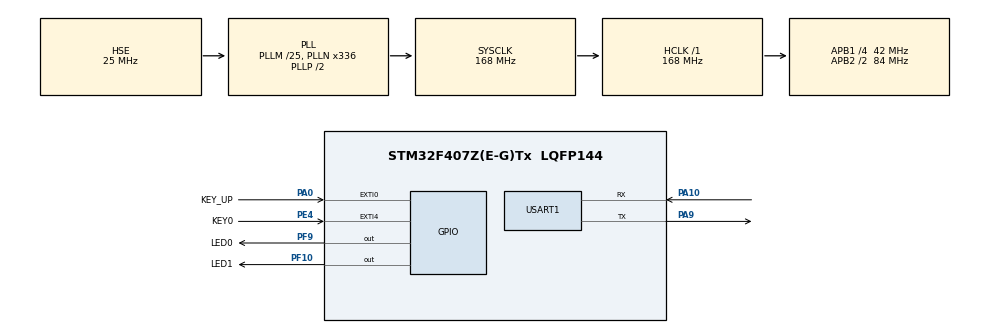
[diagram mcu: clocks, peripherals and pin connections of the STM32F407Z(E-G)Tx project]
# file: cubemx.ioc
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Mcu.Family=STM32F4
Mcu.Name=STM32F407Z(E-G)Tx
Mcu.Package=LQFP144
NVIC.EXTI0_IRQn=true\:0\:0\:false\:false\:true\:true\:true\:true
NVIC.EXTI4_IRQn=true\:1\:0\:true\:false\:true\:true\:true\:true
NVIC.PriorityGroup=NVIC_PRIORITYGROUP_4
PA0-WKUP.GPIO_Label=KEY_UP
PA0-WKUP.Signal=GPXTI0
PA10.Mode=Asynchronous
PA10.Signal=USART1_RX
PA9.Mode=Asynchronous
PA9.Signal=USART1_TX
PC14-OSC32_IN.Mode=LSE-External-Oscillator
PC14-OSC32_IN.Signal=RCC_OSC32_IN
PC15-OSC32_OUT.Mode=LSE-External-Oscillator
PC15-OSC32_OUT.Signal=RCC_OSC32_OUT
PE4.GPIO_Label=KEY0
PE4.Signal=GPXTI4
PF10.GPIO_Label=LED1
PF10.Signal=GPIO_Output
PF9.GPIO_Label=LED0
PF9.Signal=GPIO_Output
PH0-OSC_IN.Mode=HSE-External-Oscillator
PH0-OSC_IN.Signal=RCC_OSC_IN
PH1-OSC_OUT.Mode=HSE-External-Oscillator
PH1-OSC_OUT.Signal=RCC_OSC_OUT
ProjectManager.HeapSize=0x200
ProjectManager.StackSize=0x400
ProjectManager.TargetToolchain=Makefile
RCC.48MHZClocksFreq_Value=84000000
RCC.AHBFreq_Value=168000000
RCC.APB1CLKDivider=RCC_HCLK_DIV4
RCC.APB1Freq_Value=42000000
RCC.APB1TimFreq_Value=84000000
RCC.APB2CLKDivider=RCC_HCLK_DIV2
RCC.APB2Freq_Value=84000000
RCC.APB2TimFreq_Value=168000000
RCC.CortexFreq_Value=168000000
RCC.HCLKFreq_Value=168000000
RCC.HSE_VALUE=25000000
RCC.HSI_VALUE=16000000
RCC.PLLM=25
RCC.PLLN=336
RCC.PLLSourceVirtual=RCC_PLLSOURCE_HSE
RCC.SYSCLKFreq_VALUE=168000000
RCC.SYSCLKSource=RCC_SYSCLKSOURCE_PLLCLK
RCC.VCOOutputFreq_Value=336000000
USART1.VirtualMode=VM_ASYNC
board=custom

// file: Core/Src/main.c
/* USER CODE BEGIN Header */
/**
  ******************************************************************************
  * @file           : main.c
  * @brief          : Main program body
  ******************************************************************************
  * @attention
  *
  * Copyright (c) 2026 STMicroelectronics.
  * All rights reserved.
  *
  * This software is licensed under terms that can be found in the LICENSE file
  * in the root directory of this software component.
  * If no LICENSE file comes with this software, it is provided AS-IS.
  *
  ******************************************************************************
  */
/* USER CODE END Header */
#include "main.h"

/* USER CODE BEGIN Includes */
#include <stdio.h>
/* USER CODE END Includes */

UART_HandleTypeDef huart1;

/* USER CODE BEGIN PV */
// LED系统状态
LED_System_t led_system = {0};

// 模式名称字符串
const char* mode_names[] = {
    "关闭",
    "左转",
    "右转",
    "双闪"
};

/* USER CODE END PV */

void SystemClock_Config(void);
static void MX_GPIO_Init(void);
static void MX_USART1_UART_Init(void);
/* USER CODE BEGIN PFP */
// LED控制函数
void LED_Update(void);
void LED_SetMode(LED_Mode_t mode);
void LED_ToggleHazard(void);
void LED_PrintMode(void);

// 串口重定向
int fputc(int ch, FILE *f);
/* USER CODE END PFP */

int main(void)
{

  /* MCU Configuration--------------------------------------------------------*/

  /* Reset of all peripherals, Initializes the Flash interface and the Systick. */
  HAL_Init();

  /* Configure the system clock */
  SystemClock_Config();

  /* Initialize all configured peripherals */
  MX_GPIO_Init();
  MX_USART1_UART_Init();
  /* USER CODE BEGIN 2 */
  // 初始化LED系统
  led_system.current_mode = LED_MODE_OFF;
  led_system.saved_mode = LED_MODE_OFF;
  led_system.hazard_active = 0;
  led_system.tick_counter = 0;
  led_system.led_state = 0;

  // 打印欢迎信息
  printf("\r\n=== 智能灯光控制系统 ===\r\n");
  printf("KEY0: 切换模式 | KEY_UP: 紧急双闪\r\n");
  LED_PrintMode();
  /* USER CODE END 2 */

  /* Infinite loop */
  while (1)
  {

    /* USER CODE BEGIN 3 */
    // 更新LED状态（非阻塞）
    LED_Update();
  }
  /* USER CODE END 3 */
}

void SystemClock_Config(void)
{
  RCC_OscInitTypeDef RCC_OscInitStruct = {0};
  RCC_ClkInitTypeDef RCC_ClkInitStruct = {0};

  /** Configure the main internal regulator output voltage
  */
  __HAL_RCC_PWR_CLK_ENABLE();
  __HAL_PWR_VOLTAGESCALING_CONFIG(PWR_REGULATOR_VOLTAGE_SCALE1);

  /** Initializes the RCC Oscillators according to the specified parameters
  * in the RCC_OscInitTypeDef structure.
  */
  RCC_OscInitStruct.OscillatorType = RCC_OSCILLATORTYPE_HSE;
  RCC_OscInitStruct.HSEState = RCC_HSE_ON;
  RCC_OscInitStruct.PLL.PLLState = RCC_PLL_ON;
  RCC_OscInitStruct.PLL.PLLSource = RCC_PLLSOURCE_HSE;
  RCC_OscInitStruct.PLL.PLLM = 25;
  RCC_OscInitStruct.PLL.PLLN = 336;
  RCC_OscInitStruct.PLL.PLLP = RCC_PLLP_DIV2;
  RCC_OscInitStruct.PLL.PLLQ = 4;
  if (HAL_RCC_OscConfig(&RCC_OscInitStruct) != HAL_OK)
  {
    Error_Handler();
  }

  /** Initializes the CPU, AHB and APB buses clocks
  */
  RCC_ClkInitStruct.ClockType = RCC_CLOCKTYPE_HCLK|RCC_CLOCKTYPE_SYSCLK
                              |RCC_CLOCKTYPE_PCLK1|RCC_CLOCKTYPE_PCLK2;
  RCC_ClkInitStruct.SYSCLKSource = RCC_SYSCLKSOURCE_PLLCLK;
  RCC_ClkInitStruct.AHBCLKDivider = RCC_SYSCLK_DIV1;
  RCC_ClkInitStruct.APB1CLKDivider = RCC_HCLK_DIV4;
  RCC_ClkInitStruct.APB2CLKDivider = RCC_HCLK_DIV2;

  if (HAL_RCC_ClockConfig(&RCC_ClkInitStruct, FLASH_LATENCY_5) != HAL_OK)
  {
    Error_Handler();
  }
}

static void MX_USART1_UART_Init(void)
{

  huart1.Instance = USART1;
  huart1.Init.BaudRate = 115200;
  huart1.Init.WordLength = UART_WORDLENGTH_8B;
  huart1.Init.StopBits = UART_STOPBITS_1;
  huart1.Init.Parity = UART_PARITY_NONE;
  huart1.Init.Mode = UART_MODE_TX_RX;
  huart1.Init.HwFlowCtl = UART_HWCONTROL_NONE;
  huart1.Init.OverSampling = UART_OVERSAMPLING_16;
  if (HAL_UART_Init(&huart1) != HAL_OK)
  {
    Error_Handler();
  }

}

static void MX_GPIO_Init(void)
{
  GPIO_InitTypeDef GPIO_InitStruct = {0};

  /* GPIO Ports Clock Enable */
  __HAL_RCC_GPIOE_CLK_ENABLE();
  __HAL_RCC_GPIOC_CLK_ENABLE();
  __HAL_RCC_GPIOF_CLK_ENABLE();
  __HAL_RCC_GPIOH_CLK_ENABLE();
  __HAL_RCC_GPIOA_CLK_ENABLE();

  /*Configure GPIO pin Output Level */
  HAL_GPIO_WritePin(GPIOF, LED0_Pin|LED1_Pin, GPIO_PIN_RESET);

  /*Configure GPIO pin : KEY0_Pin */
  GPIO_InitStruct.Pin = KEY0_Pin;
  GPIO_InitStruct.Mode = GPIO_MODE_IT_RISING;
  GPIO_InitStruct.Pull = GPIO_NOPULL;
  HAL_GPIO_Init(KEY0_GPIO_Port, &GPIO_InitStruct);

  /*Configure GPIO pins : LED0_Pin LED1_Pin */
  GPIO_InitStruct.Pin = LED0_Pin|LED1_Pin;
  GPIO_InitStruct.Mode = GPIO_MODE_OUTPUT_PP;
  GPIO_InitStruct.Pull = GPIO_NOPULL;
  GPIO_InitStruct.Speed = GPIO_SPEED_FREQ_LOW;
  HAL_GPIO_Init(GPIOF, &GPIO_InitStruct);

  /*Configure GPIO pin : KEY_UP_Pin */
  GPIO_InitStruct.Pin = KEY_UP_Pin;
  GPIO_InitStruct.Mode = GPIO_MODE_IT_RISING;
  GPIO_InitStruct.Pull = GPIO_NOPULL;
  HAL_GPIO_Init(KEY_UP_GPIO_Port, &GPIO_InitStruct);

  /* EXTI interrupt init*/
  HAL_NVIC_SetPriority(EXTI0_IRQn, 0, 0);
  HAL_NVIC_EnableIRQ(EXTI0_IRQn);

  HAL_NVIC_SetPriority(EXTI4_IRQn, 1, 0);
  HAL_NVIC_EnableIRQ(EXTI4_IRQn);

}

/* USER CODE BEGIN 4 */
/**
 * @brief 串口重定向函数
 */
int fputc(int ch, FILE *f)
{
    HAL_UART_Transmit(&huart1, (uint8_t*)&ch, 1, HAL_MAX_DELAY);
    return ch;
}

/**
 * @brief 打印当前模式
 */
void LED_PrintMode(void)
{
    printf("当前模式: %s\r\n", mode_names[led_system.current_mode]);
}

/**
 * @brief 设置LED模式
 */
void LED_SetMode(LED_Mode_t mode)
{
    if (mode >= LED_MODE_MAX)
    {
        mode = LED_MODE_OFF;
    }
    led_system.current_mode = mode;
    led_system.tick_counter = 0;
    led_system.led_state = 0;
    LED_PrintMode();
}

/**
 * @brief 切换紧急双闪模式
 */
void LED_ToggleHazard(void)
{
    if (led_system.hazard_active)
    {
        // 退出双闪，恢复之前模式
        led_system.hazard_active = 0;
        led_system.current_mode = led_system.saved_mode;
        printf("退出紧急双闪，恢复模式: %s\r\n", mode_names[led_system.current_mode]);
    }
    else
    {
        // 进入双闪，保存当前模式
        led_system.saved_mode = led_system.current_mode;
        led_system.hazard_active = 1;
        led_system.current_mode = LED_MODE_HAZARD;
        led_system.tick_counter = 0;
        printf("进入紧急双闪模式，保存原模式: %s\r\n", mode_names[led_system.saved_mode]);
    }
}

/**
 * @brief LED状态更新函数（状态机）
 * 使用时间基准而非HAL_Delay
 */
void LED_Update(void)
{
    static uint32_t last_tick[LED_MODE_MAX] = {0};
    uint32_t current_tick = HAL_GetTick();
    uint32_t elapsed = current_tick - last_tick[led_system.current_mode];

    // 根据不同模式处理LED
    switch (led_system.current_mode)
    {
        case LED_MODE_OFF:
            // 关闭模式：两个LED都熄灭
            HAL_GPIO_WritePin(LED0_GPIO_Port, LED0_Pin, GPIO_PIN_RESET);
            HAL_GPIO_WritePin(LED1_GPIO_Port, LED1_Pin, GPIO_PIN_RESET);
            break;

        case LED_MODE_LEFT_TURN:
            // 左转模式：LED0以1Hz闪烁，LED1灭
            if (elapsed >= 500)
            {
                last_tick[led_system.current_mode] = current_tick;
                led_system.led_state = !led_system.led_state;
                HAL_GPIO_WritePin(LED0_GPIO_Port, LED0_Pin, led_system.led_state ? GPIO_PIN_SET : GPIO_PIN_RESET);
                HAL_GPIO_WritePin(LED1_GPIO_Port, LED1_Pin, GPIO_PIN_RESET);
            }
            break;

        case LED_MODE_RIGHT_TURN:
            // 右转模式：LED1以1Hz闪烁，LED0灭
            if (elapsed >= 500)
            {
                last_tick[led_system.current_mode] = current_tick;
                led_system.led_state = !led_system.led_state;
                HAL_GPIO_WritePin(LED0_GPIO_Port, LED0_Pin, GPIO_PIN_RESET);
                HAL_GPIO_WritePin(LED1_GPIO_Port, LED1_Pin, led_system.led_state ? GPIO_PIN_SET : GPIO_PIN_RESET);
            }
            break;

        case LED_MODE_HAZARD:
            // 紧急双闪模式：LED0和LED1同时以2Hz闪烁
            if (elapsed >= 250)
            {
                last_tick[led_system.current_mode] = current_tick;
                led_system.led_state = !led_system.led_state;
                HAL_GPIO_WritePin(LED0_GPIO_Port, LED0_Pin, led_system.led_state ? GPIO_PIN_SET : GPIO_PIN_RESET);
                HAL_GPIO_WritePin(LED1_GPIO_Port, LED1_Pin, led_system.led_state ? GPIO_PIN_SET : GPIO_PIN_RESET);
            }
            break;

        default:
            break;
    }
}

/**
 * @brief 按键中断回调函数
 * KEY0: EXTI4, 优先级1
 * KEY_UP: EXTI0, 优先级0
 */
void HAL_GPIO_EXTI_Callback(uint16_t GPIO_Pin)
{
    if (GPIO_Pin == KEY0_Pin)
    {
        // 紧急双闪模式下KEY0无效
        if (led_system.hazard_active)
        {
            return;
        }

        // 简单消抖
        static uint32_t last_key0_time = 0;
        uint32_t current_time = HAL_GetTick();

        if (current_time - last_key0_time < 200)
        {
            return;
        }
        last_key0_time = current_time;

        // 切换到下一个模式：关闭→左转→右转→双闪→关闭
        LED_SetMode(led_system.current_mode + 1);
    }
    else if (GPIO_Pin == KEY_UP_Pin)
    {
        // 简单消抖
        static uint32_t last_keyup_time = 0;
        uint32_t current_time = HAL_GetTick();

        if (current_time - last_keyup_time < 200)
        {
            return;
        }
        last_keyup_time = current_time;

        // 切换紧急双闪模式
        LED_ToggleHazard();
    }
}
/* USER CODE END 4 */

void Error_Handler(void)
{
  __disable_irq();
  while (1)
  {
  }
}
